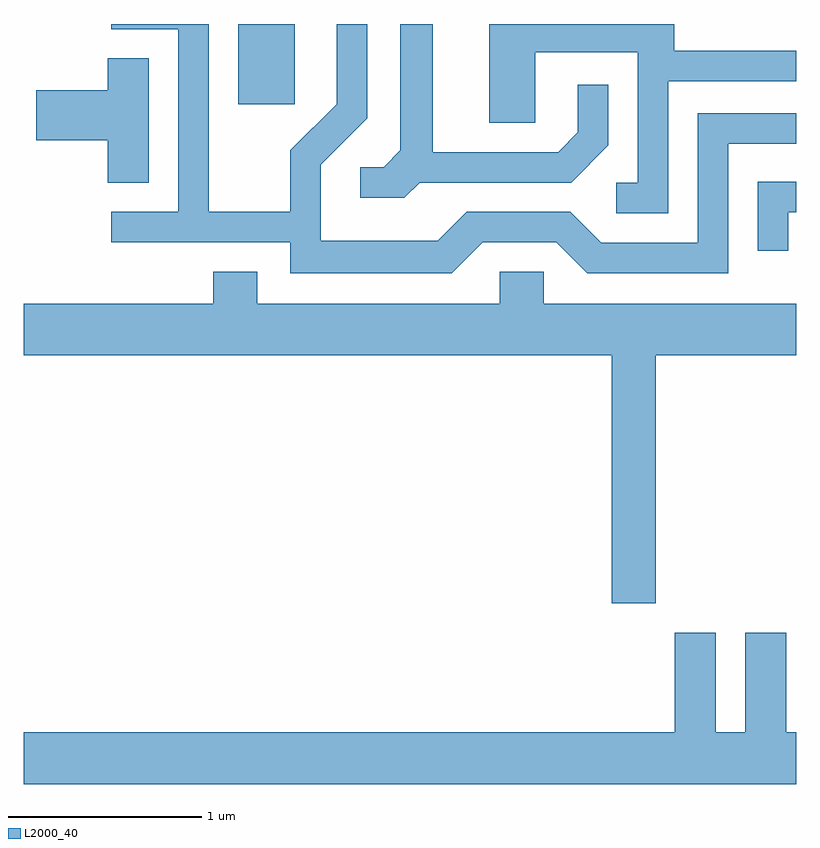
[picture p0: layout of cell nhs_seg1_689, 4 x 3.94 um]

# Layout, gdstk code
import gdstk
lib = gdstk.Library(unit=1e-6, precision=1e-09)
def R(c, l, rs):  # rectangles x0, y0, x1, y1
    for r in rs: c.add(gdstk.rectangle(r[:2], r[2:], *l))
def P(c, l, *ps):  # polygons
    for p in ps: c.add(gdstk.Polygon(p, *l))
L2000_40 = (2000, 40)

nhs_seg1_689 = lib.new_cell('nhs_seg1_689')
R(nhs_seg1_689, L2000_40, [(206.721,925.296,207.014,925.712)])
P(nhs_seg1_689, L2000_40, [(207.662,924.891),(208.447,924.891),(208.639,925.084),(208.639,925.398),(208.481,925.398),(208.481,925.152),(208.379,925.049),(207.729,925.049),(207.729,925.712),(207.561,925.712),(207.561,925.057),(207.474,924.969),(207.353,924.969),(207.353,924.811),(207.582,924.811)],
  [(207.987,924.581),(208.369,924.581),(208.529,924.421),(209.259,924.421),(209.259,925.091),(209.611,925.091),(209.611,925.249),(209.101,925.249),(209.101,924.579),(208.602,924.579),(208.442,924.739),(207.904,924.739),(207.754,924.589),(207.149,924.589),(207.149,924.984),(207.389,925.224),(207.389,925.712),(207.231,925.712),(207.231,925.297),(206.991,925.057),(206.991,924.739),(206.569,924.739),(206.569,925.712),(206.063,925.712),(206.063,925.686),(206.411,925.686),(206.411,924.739),(206.063,924.739),(206.063,924.581),(206.991,924.581),(206.991,924.421),(207.827,924.421)],
  [(208.949,925.416),(209.611,925.416),(209.611,925.574),(208.979,925.574),(208.979,925.712),(208.021,925.712),(208.021,925.201),(208.259,925.201),(208.259,925.566),(208.791,925.566),(208.791,924.889),(208.678,924.889),(208.678,924.731),(208.949,924.731)],
  [(206.259,925.534),(206.046,925.534),(206.046,925.369),(205.676,925.369),(205.676,925.111),(206.046,925.111),(206.046,924.891),(206.259,924.891)],
  [(209.569,924.736),(209.611,924.736),(209.611,924.894),(209.411,924.894),(209.411,924.538),(209.569,924.538)],
  [(208.884,923.996),(209.611,923.996),(209.611,924.264),(208.304,924.264),(208.304,924.429),(208.076,924.429),(208.076,924.264),(206.819,924.264),(206.819,924.429),(206.591,924.429),(206.591,924.264),(205.611,924.264),(205.611,923.996),(208.656,923.996),(208.656,922.711),(208.884,922.711)],
  [(209.611,922.044),(209.559,922.044),(209.559,922.559),(209.346,922.559),(209.346,922.044),(209.194,922.044),(209.194,922.559),(208.981,922.559),(208.981,922.044),(205.611,922.044),(205.611,921.776),(209.611,921.776)])

lib.write_gds('nhs_seg1_689.gds')
